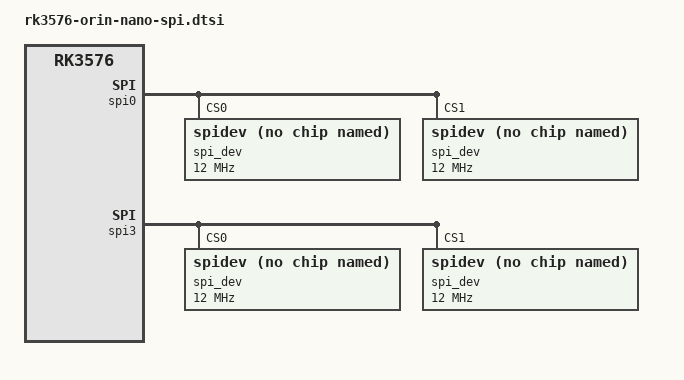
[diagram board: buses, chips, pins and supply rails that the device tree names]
// SPDX-License-Identifier: (GPL-2.0+ OR MIT)
/*
 * Guangzhou Easy EAI Technology Co., Ltd.
 *
 */

&spi0 {
	status = "okay";
	pinctrl-names = "default";
	pinctrl-0 = <&spi0m0_pins &spi0m0_csn0 &spi0m0_csn1>;

	spi_dev@0 {
		compatible = "rockchip,spidev";
		reg = <0>;
		spi-max-frequency = <12000000>;
		spi-lsb-first;
	};

	spi_dev@1 {
		compatible = "rockchip,spidev";
		reg = <1>;
		spi-max-frequency = <12000000>;
		spi-lsb-first;
	};
};

&spi3 {
	status = "okay";
	pinctrl-names = "default";
	pinctrl-0 = <&spi3m0_pins &spi3m0_csn0 &spi3m0_csn1>;

	spi_dev@0 {
		compatible = "rockchip,spidev";
		reg = <0>;
		spi-max-frequency = <12000000>;
		spi-lsb-first;
	};

	spi_dev@1 {
		compatible = "rockchip,spidev";
		reg = <1>;
		spi-max-frequency = <12000000>;
		spi-lsb-first;
	};
};
